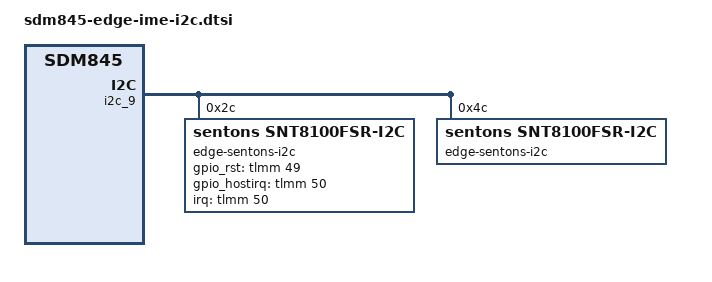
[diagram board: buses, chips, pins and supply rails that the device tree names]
/* Copyright (c) 2016, The Linux Foundation. All rights reserved.
 *
 * This program is free software; you can redistribute it and/or modify
 * it under the terms of the GNU General Public License version 2 and
 * only version 2 as published by the Free Software Foundation.
 *
 * This program is distributed in the hope that it will be useful,
 * but WITHOUT ANY WARRANTY; without even the implied warranty of
 * MERCHANTABILITY or FITNESS FOR A PARTICULAR PURPOSE.  See the
 * GNU General Public License for more details.
 */

&tlmm {
	snt_reset{
		snt_reset_active: reset {
			mux {
				pins = "gpio49";
				function = "gpio";
			};

			config{
				pins = "gpio49";
				drive-strength = <2>;
				bias-disable;
				output-low;
			};
		};

		snt_reset_normal: active {
			mux {
				pins = "gpio49";
				function = "gpio";
			};

			config{
				pins = "gpio49";
				drive-strength = <2>;
				bias-disable;
				output-high;
			};
		};
	};

	snt_hostirq_default {
		snt_hostirq_default: active {
			mux {
				pins = "gpio50";
				function = "gpio";
			};

			config{
				pins = "gpio50";
				drive-strength = <2>;
				/*bias-pull-down;*/
				bias-disable;
			};
		};
	};
};

&i2c_9_active {
	config {
		drive-strength = <8>;
	};
};
&i2c_9_sleep {
	config {
		drive-strength = <8>;
	};
};

&i2c_9 {    /* i2c@c1b7000 */
	status = "okay";
	qcom,disable-dma;
	edge-sentons-i2c@2c {
		compatible	= "sentons,snt8100fsr-i2c";
		reg		= <0x2c>;
		interrupt-parent= <&tlmm>;
		interrupts	= <50 0x0>;
		snt,gpio_rst	= <&tlmm 49 0>;
		snt,gpio_hostirq= <&tlmm 50 0>;

		pinctrl-names = "snt_hostirq_default",
				"snt_reset_active",
				"snt_reset_normal";

		pinctrl-0 = <&snt_hostirq_default>;
		pinctrl-1 = <&snt_reset_active>;
		pinctrl-2 = <&snt_reset_normal>;
	};
	edge-sentons-i2c@4c {
		compatible	= "sentons,snt8100fsr-i2c";
		reg		= <0x4c>;
		wake-device	= <1>;
	};
};
